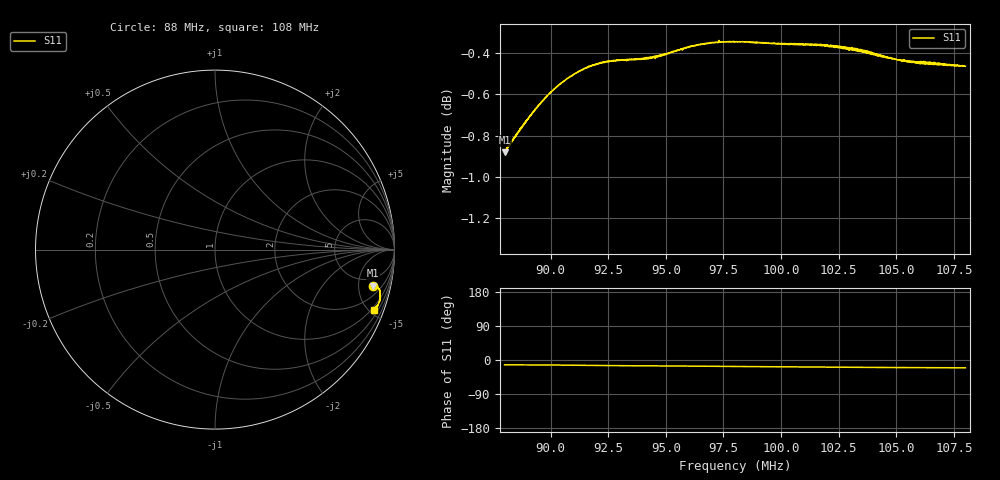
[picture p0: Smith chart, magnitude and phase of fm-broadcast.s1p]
! Calibrated averaged scanner-service zoom
# Hz S RI R 50
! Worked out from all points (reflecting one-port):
!   2001 points, 88 MHz to 108 MHz, reference 50 ohm
!   lowest |S11| = -0.9 dB at 88 MHz (marker M1), VSWR 19.74, Z = 169 - j369 ohm
!   phase of S11 starts at -13 deg and turns -8 deg over the sweep
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8.8e7  0.881 -0.2005
8.85e7  0.8893 -0.2011
8.906e7  0.8984 -0.2048
8.942e7  0.9032 -0.2077
8.984e7  0.9082 -0.2121
9.05e7  0.9137 -0.2188
9.111e7  0.9171 -0.2261
9.168e7  0.9191 -0.2326
9.236e7  0.9193 -0.2406
9.3e7  0.919 -0.2459
9.354e7  0.9181 -0.2501
9.431e7  0.9177 -0.2542
9.498e7  0.9187 -0.2578
9.55e7  0.9204 -0.2613
9.614e7  0.9212 -0.2666
9.662e7  0.9211 -0.2707
9.74e7  0.9202 -0.2775
9.8e7  0.9186 -0.2824
9.898e7  0.9162 -0.2892
1.005e8  0.9124 -0.2985
1.0193e8  0.9083 -0.308
1.03e8  0.9038 -0.3145
1.0365e8  0.9018 -0.3187
1.0419e8  0.8988 -0.3214
1.0505e8  0.895 -0.3231
1.055e8  0.8938 -0.3248
1.0614e8  0.892 -0.3271
1.08e8  0.8869 -0.3349
